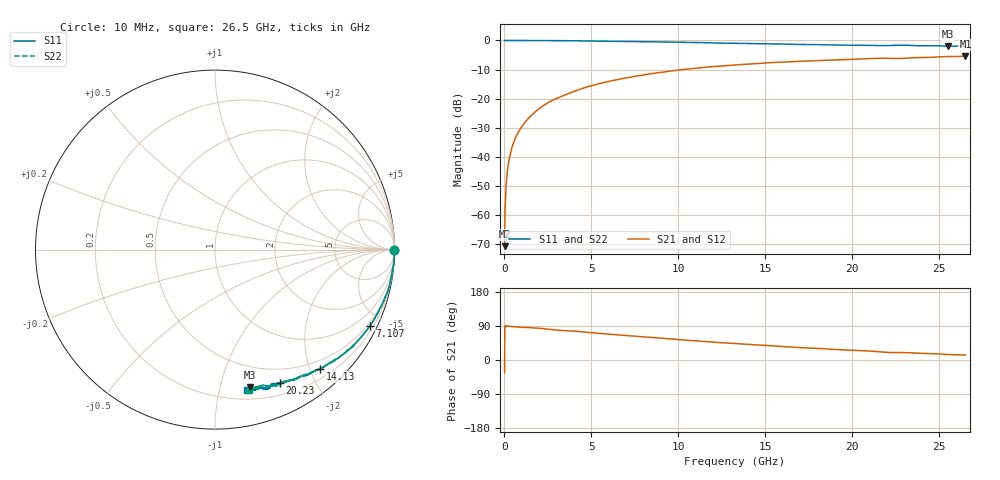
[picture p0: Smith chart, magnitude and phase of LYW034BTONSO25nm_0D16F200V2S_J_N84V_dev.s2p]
!Keysight Technologies,N5222B,MY61253708,A.15.00.15
!Date: Wednesday, June 19, 2024 09:28:07
!Correction: S11(C  2-Port  )
!S21(C  2-Port  )
!S12(C  2-Port  )
!S22(C  2-Port  )
!S2P File: Measurements: S11, S21, S12, S22:
# Hz S  RI  R 50
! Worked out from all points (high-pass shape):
!   2651 points, 10 MHz to 26.5 GHz, reference 50 ohm
!   highest |S21| = -5.38 dB at 26.5 GHz (marker M1); lowest = -70.7 dB at 10 MHz (marker M2)
!   |S21| within 3 dB of the highest: 13.33029 GHz to 13.34581 GHz (15.53 MHz wide, 0.116 % of centre); 13.38 GHz to end of sweep
!   lowest |S11| = -2.0 dB at 25.5 GHz (marker M3), VSWR 8.65, Z = 15 - j62.1 ohm
!   |S11| at or under -10 dB: nowhere
!   |S22| runs from -2.0 to 0.0 dB; largest |S21 - S12| = 0.007
!   S11 on the Smith chart (normalised r, x): 10 MHz: open; 7.107 GHz: 0.37, -4.24; 14.13 GHz: 0.35, -2.17; 20.23 GHz: 0.33, -1.55; 26.5 GHz: 0.28, -1.21
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1e7  0.9989 -0.00265  0.000242 -0.000162  -4.5e-05 0.000527  0.9988 -0.00136
6.997736e7  1 -0.00515  1.16e-05 0.00236  1.35e-06 0.00237  0.9996 -0.00489
1.599434e8  0.9999 -0.0116  7.13e-05 0.00537  5.96e-05 0.00541  0.9995 -0.0109
1.999283e8  1 -0.0138  9.96e-05 0.0067  8.7e-05 0.00676  0.9995 -0.0132
2.599057e8  0.9996 -0.0181  0.000155 0.00871  0.000107 0.0088  0.9995 -0.0173
3.598679e8  0.9994 -0.025  0.000286 0.012  0.000297 0.0122  0.9992 -0.0243
4.898189e8  0.9988 -0.0336  0.000541 0.0164  0.000551 0.0165  0.9988 -0.0326
6.497585e8  0.9984 -0.0439  0.000929 0.0217  0.000936 0.0219  0.9984 -0.0431
8.396868e8  0.9978 -0.0566  0.00152 0.0279  0.00155 0.0282  0.9979 -0.0563
1.449457e9  0.9903 -0.0986  0.00361 0.0484  0.00369 0.0487  0.9926 -0.0954
2.329125e9  0.9812 -0.1531  0.0103 0.0785  0.0105 0.0792  0.9823 -0.1541
3.138819e9  0.9702 -0.2052  0.0209 0.103  0.0211 0.1037  0.9707 -0.2047
4.428332e9  0.941 -0.2828  0.0395 0.143  0.04 0.144  0.9421 -0.281
7.107321e9  0.8619 -0.4265  0.1003 0.2072  0.1018 0.2081  0.8625 -0.4263
8.846664e9  0.7989 -0.5044  0.1477 0.2377  0.1495 0.2384  0.7991 -0.5039
1.3255e10  0.6213 -0.6431  0.2758 0.2604  0.2784 0.2601  0.623 -0.6424
1.413467e10  0.5856 -0.6638  0.2988 0.2569  0.3015 0.2569  0.5886 -0.6604
1.767333e10  0.4486 -0.7204  0.3814 0.2312  0.3852 0.2292  0.4567 -0.7182
2.023237e10  0.363 -0.7422  0.432 0.2026  0.4345 0.2003  0.3736 -0.7415
2.209166e10  0.3142 -0.7515  0.463 0.1684  0.4651 0.165  0.3058 -0.7574
2.550038e10  0.1957 -0.7682  0.5111 0.1315  0.5129 0.1307  0.214 -0.7707
2.65e10  0.1769 -0.7827  0.5246 0.1204  0.5243 0.1161  0.1878 -0.7803
